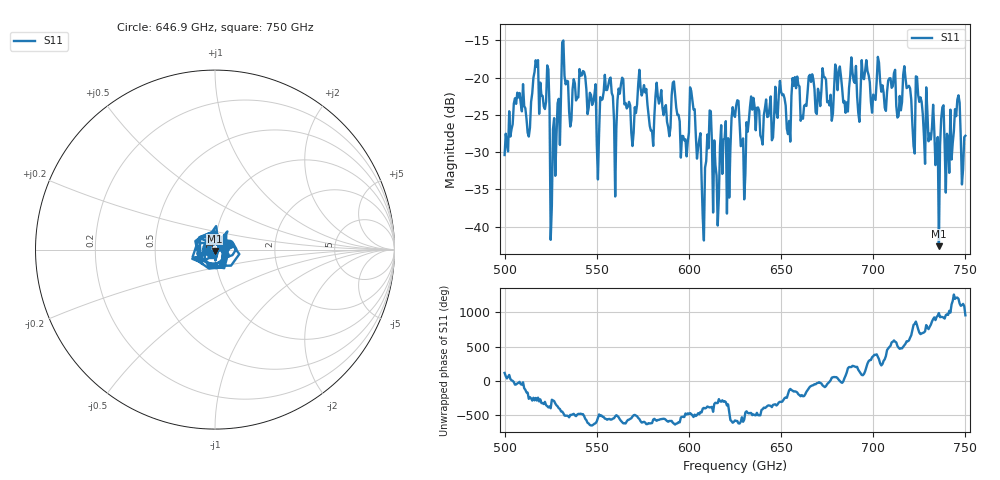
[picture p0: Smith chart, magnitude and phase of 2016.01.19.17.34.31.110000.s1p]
!Created with skrf (http://scikit-rf.org).
# GHz S RI R 50.0
!freq ReS11 ImS11
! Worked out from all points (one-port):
!   401 points, 500 GHz to 750 GHz, reference 50 ohm
!   lowest |S11| = -42.6 dB at 735.6 GHz (marker M1), VSWR 1.01, Z = 49.9 - j0.736 ohm
!   |S11| at or under -10 dB: start of sweep to end of sweep
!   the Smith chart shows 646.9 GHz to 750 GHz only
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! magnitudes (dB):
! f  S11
! 500 GHz  -30.4
! 506.9 GHz  -22.0
! 513.1 GHz  -27.9
! 516.9 GHz  -17.7
! 523.1 GHz  -18.4
! 526.2 GHz  -26.9
! 531.2 GHz  -15.3
! 542.5 GHz  -19.1
! 551.2 GHz  -27.5
! 562.5 GHz  -22.2
! 570 GHz  -27.4
! 573.8 GHz  -21.4
! 593.8 GHz  -25.0
! 598.8 GHz  -30.6
! 601.9 GHz  -23.0
! 608.1 GHz  -41.9
! 611.2 GHz  -24.4
! 614.4 GHz  -31.8
! 621.9 GHz  -36.1
! 625 GHz  -25.3
! 629.4 GHz  -28.2
! 634.4 GHz  -24.3
! 656.2 GHz  -20.1
! 687.5 GHz  -19.8
! 718.8 GHz  -21.3
! 735.6 GHz  -42.6
! 745.6 GHz  -23.0
! 750 GHz  -27.8
